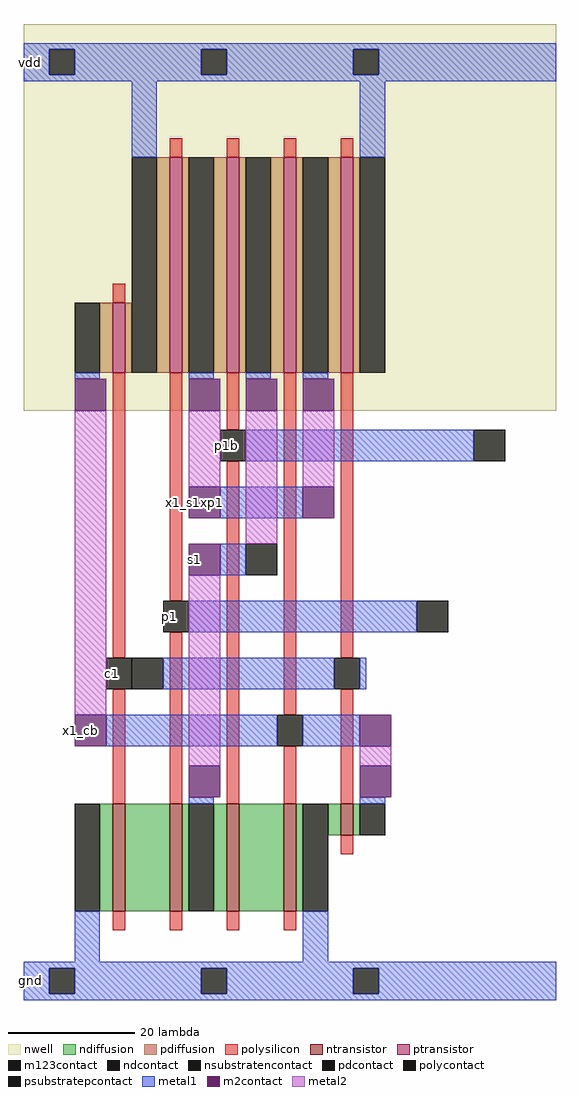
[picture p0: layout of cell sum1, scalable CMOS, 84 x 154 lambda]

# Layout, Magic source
magic
tech scmos
<< nwell >>
rect 0 93 84 154
<< ntransistor >>
rect 14 14 16 31
rect 23 14 25 31
rect 32 14 34 31
rect 41 14 43 31
rect 50 26 52 31
<< ptransistor >>
rect 14 99 16 110
rect 23 99 25 133
rect 32 99 34 133
rect 41 99 43 133
rect 50 99 52 133
<< ndiffusion >>
rect 12 14 14 31
rect 16 14 23 31
rect 25 14 26 31
rect 30 14 32 31
rect 34 14 41 31
rect 43 14 44 31
rect 48 26 50 31
rect 52 26 53 31
<< pdiffusion >>
rect 12 99 14 110
rect 16 99 17 110
rect 21 99 23 133
rect 25 99 26 133
rect 30 99 32 133
rect 34 99 35 133
rect 39 99 41 133
rect 43 99 44 133
rect 48 99 50 133
rect 52 99 53 133
<< ndcontact >>
rect 8 14 12 31
rect 26 14 30 31
rect 44 14 48 31
rect 53 26 57 31
<< pdcontact >>
rect 8 99 12 110
rect 17 99 21 133
rect 26 99 30 133
rect 35 99 39 133
rect 44 99 48 133
rect 53 99 57 133
<< psubstratepcontact >>
rect 4 1 8 5
rect 28 1 32 5
rect 52 1 56 5
<< nsubstratencontact >>
rect 4 146 8 150
rect 28 146 32 150
rect 52 146 56 150
<< polysilicon >>
rect 23 133 25 136
rect 32 133 34 136
rect 41 133 43 136
rect 50 133 52 136
rect 14 110 16 113
rect 14 54 16 99
rect 23 63 25 99
rect 32 90 34 99
rect 14 31 16 49
rect 23 31 25 58
rect 32 31 34 85
rect 41 45 43 99
rect 50 54 52 99
rect 41 31 43 40
rect 50 31 52 49
rect 50 23 52 26
rect 14 11 16 14
rect 23 11 25 14
rect 32 11 34 14
rect 41 11 43 14
<< polycontact >>
rect 31 85 35 90
rect 22 58 26 63
rect 13 49 17 54
rect 49 49 53 54
rect 40 40 44 45
<< metal1 >>
rect 0 150 84 151
rect 0 146 4 150
rect 8 146 28 150
rect 32 146 52 150
rect 56 146 84 150
rect 0 145 84 146
rect 17 133 21 145
rect 53 133 57 145
rect 8 98 12 99
rect 26 98 30 99
rect 35 98 39 99
rect 44 98 48 99
rect 35 85 71 90
rect 31 76 44 81
rect 31 67 35 72
rect 26 58 62 63
rect 22 49 49 54
rect 53 49 54 54
rect 13 40 40 45
rect 44 40 53 45
rect 26 31 30 32
rect 53 31 57 32
rect 8 6 12 14
rect 44 6 48 14
rect 0 5 84 6
rect 0 1 4 5
rect 8 1 28 5
rect 32 1 52 5
rect 56 1 84 5
rect 0 0 84 1
<< m2contact >>
rect 8 93 13 98
rect 26 93 31 98
rect 35 93 40 98
rect 44 93 49 98
rect 26 76 31 81
rect 44 76 49 81
rect 26 67 31 72
rect 8 40 13 45
rect 53 40 58 45
rect 26 32 31 37
rect 53 32 58 37
<< metal2 >>
rect 8 45 13 93
rect 26 81 31 93
rect 35 72 40 93
rect 44 81 49 93
rect 26 37 31 67
rect 53 37 58 40
<< m123contact >>
rect 71 85 76 90
rect 35 67 40 72
rect 17 49 22 54
rect 62 58 67 63
<< labels >>
rlabel metal1 13 49 15 54 0 c1
port 1 nsew
rlabel metal1 22 58 24 63 0 p1
port 2 nsew
rlabel metal1 31 85 33 90 0 p1b
port 3 nsew
rlabel m2contact 26 67 28 72 0 s1
port 4 nsew
rlabel m2contact 8 40 10 45 0 x1_cb
rlabel m2contact 26 76 28 81 0 x1_s1xp1
rlabel metal1 0 145 2 151 0 vdd
port 5 nsew
rlabel metal1 0 0 2 6 0 gnd
port 6 nsew
<< end >>
